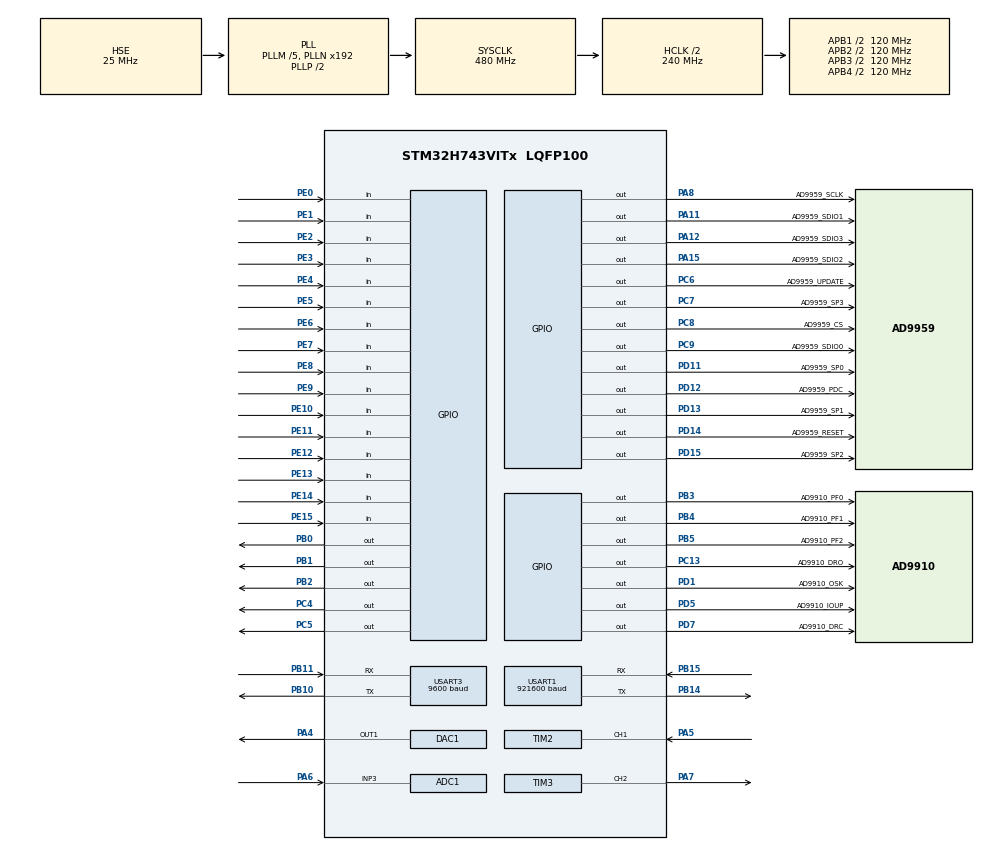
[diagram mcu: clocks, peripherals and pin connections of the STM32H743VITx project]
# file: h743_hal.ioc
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ADC1.Channel-0\#ChannelRegularConversion=ADC_CHANNEL_3
ADC1.ConversionDataManagement=ADC_CONVERSIONDATA_DMA_CIRCULAR
ADC1.ExternalTrigConv=ADC_EXTERNALTRIG_T6_TRGO
ADC1.NbrOfConversionFlag=1
ADC1.OffsetNumber-0\#ChannelRegularConversion=ADC_OFFSET_NONE
ADC1.OffsetSignedSaturation-0\#ChannelRegularConversion=DISABLE
ADC1.Rank-0\#ChannelRegularConversion=1
ADC1.Resolution=ADC_RESOLUTION_12B
ADC1.SamplingTime-0\#ChannelRegularConversion=ADC_SAMPLETIME_1CYCLE_5
ADC1.master=1
CORTEX_M7.AccessPermission_Spec=MPU_REGION_FULL_ACCESS
CORTEX_M7.BaseAddress_Spec=0x24000000
CORTEX_M7.CPU_DCache=Enabled
CORTEX_M7.CPU_ICache=Enabled
CORTEX_M7.DisableExec_Spec=MPU_INSTRUCTION_ACCESS_ENABLE
CORTEX_M7.IsShareable_Spec=MPU_ACCESS_NOT_SHAREABLE
CORTEX_M7.Size_Spec=MPU_REGION_SIZE_128KB
CORTEX_M7.SubRegionDisable_Spec=0x00
CORTEX_M7.TypeExtField_Spec=MPU_TEX_LEVEL1
CORTEX_M7.default_mode_Activation=1
DAC1.DAC1_OutputBuffer-DAC_OUT1=DAC_OUTPUTBUFFER_DISABLE
DAC1.DAC_Channel-DAC_OUT1=DAC_CHANNEL_1
DAC1.DAC_Trigger-DAC_OUT1=DAC_TRIGGER_T6_TRGO
Dma.ADC1.0.Direction=DMA_PERIPH_TO_MEMORY
Dma.ADC1.0.EventEnable=DISABLE
Dma.ADC1.0.FIFOMode=DMA_FIFOMODE_DISABLE
Dma.ADC1.0.Instance=DMA1_Stream0
Dma.ADC1.0.MemDataAlignment=DMA_MDATAALIGN_HALFWORD
Dma.ADC1.0.MemInc=DMA_MINC_ENABLE
Dma.ADC1.0.Mode=DMA_NORMAL
Dma.ADC1.0.PeriphDataAlignment=DMA_PDATAALIGN_HALFWORD
Dma.ADC1.0.PeriphInc=DMA_PINC_DISABLE
Dma.ADC1.0.Polarity=HAL_DMAMUX_REQ_GEN_RISING
Dma.ADC1.0.Priority=DMA_PRIORITY_LOW
Dma.ADC1.0.RequestNumber=1
Dma.ADC1.0.SignalID=NONE
Dma.ADC1.0.SyncEnable=DISABLE
Dma.ADC1.0.SyncPolarity=HAL_DMAMUX_SYNC_NO_EVENT
Dma.ADC1.0.SyncRequestNumber=1
Dma.ADC1.0.SyncSignalID=NONE
Dma.DAC1_CH1.3.Direction=DMA_MEMORY_TO_PERIPH
Dma.DAC1_CH1.3.EventEnable=DISABLE
Dma.DAC1_CH1.3.FIFOMode=DMA_FIFOMODE_DISABLE
Dma.DAC1_CH1.3.Instance=DMA1_Stream3
Dma.DAC1_CH1.3.MemDataAlignment=DMA_MDATAALIGN_HALFWORD
Dma.DAC1_CH1.3.MemInc=DMA_MINC_ENABLE
Dma.DAC1_CH1.3.Mode=DMA_CIRCULAR
Dma.DAC1_CH1.3.PeriphDataAlignment=DMA_PDATAALIGN_HALFWORD
Dma.DAC1_CH1.3.PeriphInc=DMA_PINC_DISABLE
Dma.DAC1_CH1.3.Polarity=HAL_DMAMUX_REQ_GEN_RISING
Dma.DAC1_CH1.3.Priority=DMA_PRIORITY_LOW
Dma.DAC1_CH1.3.RequestNumber=1
Dma.DAC1_CH1.3.SignalID=NONE
Dma.DAC1_CH1.3.SyncEnable=DISABLE
Dma.DAC1_CH1.3.SyncPolarity=HAL_DMAMUX_SYNC_NO_EVENT
Dma.DAC1_CH1.3.SyncRequestNumber=1
Dma.DAC1_CH1.3.SyncSignalID=NONE
Dma.Request0=ADC1
Dma.Request1=USART1_RX
Dma.Request2=USART3_RX
Dma.Request3=DAC1_CH1
Dma.Request4=TIM3_CH3
Dma.TIM3_CH3.4.Direction=DMA_PERIPH_TO_MEMORY
Dma.TIM3_CH3.4.EventEnable=DISABLE
Dma.TIM3_CH3.4.FIFOMode=DMA_FIFOMODE_DISABLE
Dma.TIM3_CH3.4.Instance=DMA1_Stream4
Dma.TIM3_CH3.4.MemDataAlignment=DMA_MDATAALIGN_HALFWORD
Dma.TIM3_CH3.4.MemInc=DMA_MINC_ENABLE
Dma.TIM3_CH3.4.Mode=DMA_NORMAL
Dma.TIM3_CH3.4.PeriphDataAlignment=DMA_PDATAALIGN_HALFWORD
Dma.TIM3_CH3.4.PeriphInc=DMA_PINC_DISABLE
Dma.TIM3_CH3.4.Polarity=HAL_DMAMUX_REQ_GEN_RISING
Dma.TIM3_CH3.4.Priority=DMA_PRIORITY_LOW
Dma.TIM3_CH3.4.RequestNumber=1
Dma.TIM3_CH3.4.SignalID=NONE
Dma.TIM3_CH3.4.SyncEnable=DISABLE
Dma.TIM3_CH3.4.SyncPolarity=HAL_DMAMUX_SYNC_NO_EVENT
Dma.TIM3_CH3.4.SyncRequestNumber=1
Dma.TIM3_CH3.4.SyncSignalID=NONE
Dma.USART1_RX.1.Direction=DMA_PERIPH_TO_MEMORY
Dma.USART1_RX.1.EventEnable=DISABLE
Dma.USART1_RX.1.FIFOMode=DMA_FIFOMODE_DISABLE
Dma.USART1_RX.1.Instance=DMA1_Stream1
Dma.USART1_RX.1.MemDataAlignment=DMA_MDATAALIGN_BYTE
Dma.USART1_RX.1.MemInc=DMA_MINC_ENABLE
Dma.USART1_RX.1.Mode=DMA_NORMAL
Dma.USART1_RX.1.PeriphDataAlignment=DMA_PDATAALIGN_BYTE
Dma.USART1_RX.1.PeriphInc=DMA_PINC_DISABLE
Dma.USART1_RX.1.Polarity=HAL_DMAMUX_REQ_GEN_RISING
Dma.USART1_RX.1.Priority=DMA_PRIORITY_LOW
Dma.USART1_RX.1.RequestNumber=1
Dma.USART1_RX.1.SignalID=NONE
Dma.USART1_RX.1.SyncEnable=DISABLE
Dma.USART1_RX.1.SyncPolarity=HAL_DMAMUX_SYNC_NO_EVENT
Dma.USART1_RX.1.SyncRequestNumber=1
Dma.USART1_RX.1.SyncSignalID=NONE
Dma.USART3_RX.2.Direction=DMA_PERIPH_TO_MEMORY
Dma.USART3_RX.2.EventEnable=DISABLE
Dma.USART3_RX.2.FIFOMode=DMA_FIFOMODE_DISABLE
Dma.USART3_RX.2.Instance=DMA1_Stream2
Dma.USART3_RX.2.MemDataAlignment=DMA_MDATAALIGN_BYTE
Dma.USART3_RX.2.MemInc=DMA_MINC_ENABLE
Dma.USART3_RX.2.Mode=DMA_NORMAL
Dma.USART3_RX.2.PeriphDataAlignment=DMA_PDATAALIGN_BYTE
Dma.USART3_RX.2.PeriphInc=DMA_PINC_DISABLE
Dma.USART3_RX.2.Polarity=HAL_DMAMUX_REQ_GEN_RISING
Dma.USART3_RX.2.Priority=DMA_PRIORITY_LOW
Dma.USART3_RX.2.RequestNumber=1
Dma.USART3_RX.2.SignalID=NONE
Dma.USART3_RX.2.SyncEnable=DISABLE
Dma.USART3_RX.2.SyncPolarity=HAL_DMAMUX_SYNC_NO_EVENT
Dma.USART3_RX.2.SyncRequestNumber=1
Dma.USART3_RX.2.SyncSignalID=NONE
Mcu.Family=STM32H7
Mcu.Name=STM32H743VITx
Mcu.Package=LQFP100
NVIC.DMA1_Stream0_IRQn=true\:0\:0\:false\:false\:true\:false\:true\:true
NVIC.DMA1_Stream1_IRQn=true\:0\:0\:false\:false\:true\:false\:true\:true
NVIC.DMA1_Stream2_IRQn=true\:0\:0\:false\:false\:true\:false\:true\:true
NVIC.DMA1_Stream3_IRQn=true\:0\:0\:false\:false\:true\:false\:true\:true
NVIC.DMA1_Stream4_IRQn=true\:0\:0\:false\:false\:true\:false\:true\:true
NVIC.PriorityGroup=NVIC_PRIORITYGROUP_4
NVIC.USART3_IRQn=true\:0\:0\:false\:false\:true\:true\:true\:true
PA11.GPIO_Label=AD9959_SDIO1
PA11.Signal=GPIO_Output
PA12.GPIO_Label=AD9959_SDIO3
PA12.Signal=GPIO_Output
PA13\ (JTMS/SWDIO).Mode=Serial_Wire
PA13\ (JTMS/SWDIO).Signal=DEBUG_JTMS-SWDIO
PA14\ (JTCK/SWCLK).Mode=Serial_Wire
PA14\ (JTCK/SWCLK).Signal=DEBUG_JTCK-SWCLK
PA15\ (JTDI).GPIO_Label=AD9959_SDIO2
PA15\ (JTDI).Signal=GPIO_Output
PA4.Signal=COMP_DAC11_group
PA5.Signal=S_TIM2_CH1_ETR
PA6.Signal=ADCx_INP3
PA7.Signal=S_TIM3_CH2
PA8.GPIO_Label=AD9959_SCLK
PA8.Signal=GPIO_Output
PB0.Signal=GPIO_Output
PB1.Signal=GPIO_Output
PB10.Mode=Asynchronous
PB10.Signal=USART3_TX
PB11.Mode=Asynchronous
PB11.Signal=USART3_RX
PB14.Mode=Asynchronous
PB14.Signal=USART1_TX
PB15.Mode=Asynchronous
PB15.Signal=USART1_RX
PB2.Signal=GPIO_Output
PB3\ (JTDO/TRACESWO).GPIO_Label=AD9910_PF0
PB3\ (JTDO/TRACESWO).Signal=GPIO_Output
PB4\ (NJTRST).GPIO_Label=AD9910_PF1
PB4\ (NJTRST).Signal=GPIO_Output
PB5.GPIO_Label=AD9910_PF2
PB5.Signal=GPIO_Output
PC13.GPIO_Label=AD9910_DRO
PC13.Signal=GPIO_Output
PC14-OSC32_IN\ (OSC32_IN).Mode=LSE-External-Oscillator
PC14-OSC32_IN\ (OSC32_IN).Signal=RCC_OSC32_IN
PC15-OSC32_OUT\ (OSC32_OUT).Mode=LSE-External-Oscillator
PC15-OSC32_OUT\ (OSC32_OUT).Signal=RCC_OSC32_OUT
PC4.Signal=GPIO_Output
PC5.Signal=GPIO_Output
PC6.GPIO_Label=AD9959_UPDATE
PC6.Signal=GPIO_Output
PC7.GPIO_Label=AD9959_SP3
PC7.Signal=GPIO_Output
PC8.GPIO_Label=AD9959_CS
PC8.Signal=GPIO_Output
PC9.GPIO_Label=AD9959_SDIO0
PC9.Signal=GPIO_Output
PD1.GPIO_Label=AD9910_OSK
PD1.Signal=GPIO_Output
PD11.GPIO_Label=AD9959_SP0
PD11.Signal=GPIO_Output
PD12.GPIO_Label=AD9959_PDC
PD12.Signal=GPIO_Output
PD13.GPIO_Label=AD9959_SP1
PD13.Signal=GPIO_Output
PD14.GPIO_Label=AD9959_RESET
PD14.Signal=GPIO_Output
PD15.GPIO_Label=AD9959_SP2
PD15.Signal=GPIO_Output
PD5.GPIO_Label=AD9910_IOUP
PD5.Signal=GPIO_Output
PD7.GPIO_Label=AD9910_DRC
PD7.Signal=GPIO_Output
PE0.Signal=GPIO_Input
PE1.Signal=GPIO_Input
PE10.Signal=GPIO_Input
PE11.Signal=GPIO_Input
PE12.Signal=GPIO_Input
PE13.Signal=GPIO_Input
PE14.Signal=GPIO_Input
PE15.Signal=GPIO_Input
PE2.Signal=GPIO_Input
PE3.Signal=GPIO_Input
PE4.Signal=GPIO_Input
PE5.Signal=GPIO_Input
PE6.Signal=GPIO_Input
PE7.Signal=GPIO_Input
PE8.Signal=GPIO_Input
PE9.Signal=GPIO_Input
PH0-OSC_IN\ (PH0).Mode=HSE-External-Oscillator
PH0-OSC_IN\ (PH0).Signal=RCC_OSC_IN
PH1-OSC_OUT\ (PH1).Mode=HSE-External-Oscillator
PH1-OSC_OUT\ (PH1).Signal=RCC_OSC_OUT
ProjectManager.HeapSize=0x200
ProjectManager.StackSize=0x400
ProjectManager.TargetToolchain=MDK-ARM V5.32
RCC.ADCFreq_Value=75000000
RCC.APB1Freq_Value=120000000
RCC.APB2Freq_Value=120000000
RCC.APB3Freq_Value=120000000
RCC.APB4Freq_Value=120000000
RCC.CortexFreq_Value=480000000
RCC.D1PPRE=RCC_APB3_DIV2
RCC.D2PPRE1=RCC_APB1_DIV2
RCC.D2PPRE2=RCC_APB2_DIV2
RCC.D3PPRE=RCC_APB4_DIV2
RCC.DIVM1=5
RCC.DIVM2=2
RCC.DIVN1=192
RCC.DIVN2=12
RCC.HCLKFreq_Value=240000000
RCC.HPRE=RCC_HCLK_DIV2
RCC.PLL2FRACN=0
RCC.PLL3FRACN=0
RCC.PLLFRACN=0
RCC.PLLSourceVirtual=RCC_PLLSOURCE_HSE
RCC.SYSCLKFreq_VALUE=480000000
RCC.SYSCLKSource=RCC_SYSCLKSOURCE_PLLCLK
RCC.USBFreq_Value=480000000
SH.ADCx_INP3.0=ADC1_INP3,IN3-Single-Ended
SH.COMP_DAC11_group.0=DAC1_OUT1,DAC_OUT1
SH.S_TIM2_CH1_ETR.0=TIM2_CH1,TriggerSource_TI1FP1
SH.S_TIM2_CH1_ETR.1=TIM2_CH1,Input_Capture1_from_TI1
SH.S_TIM3_CH2.0=TIM3_CH2,PWM Generation2 CH2
TIM2.AutoReloadPreload=TIM_AUTORELOAD_PRELOAD_ENABLE
TIM2.Channel-Input_Capture1_from_TI1=TIM_CHANNEL_1
TIM2.Period=0xFFFFFFFF
TIM2.Prescaler=0
TIM3.AutoReloadPreload=TIM_AUTORELOAD_PRELOAD_ENABLE
TIM3.Channel-PWM\ Generation2\ CH2=TIM_CHANNEL_2
TIM3.Channel-PWM\ Generation3\ No\ Output=TIM_CHANNEL_3
TIM3.Period=10-1
TIM3.Prescaler=24-1
TIM3.Pulse-PWM\ Generation2\ CH2=5-1
TIM6.AutoReloadPreload=TIM_AUTORELOAD_PRELOAD_ENABLE
TIM6.Period=10-1
TIM6.Prescaler=24-1
TIM6.TIM_MasterOutputTrigger=TIM_TRGO_UPDATE
USART1.BaudRate=921600
USART1.VirtualMode-Asynchronous=VM_ASYNC
USART3.BaudRate=9600
USART3.VirtualMode-Asynchronous=VM_ASYNC
VP_MEMORYMAP_VS_MEMORYMAP.Mode=CurAppReg
VP_TIM2_VS_ControllerModeReset.Mode=Reset Mode
VP_TIM3_VS_ClockSourceINT.Mode=Internal
VP_TIM3_VS_no_output3.Mode=PWM Generation3 No Output
VP_TIM6_VS_ClockSourceINT.Mode=Enable_Timer
board=custom

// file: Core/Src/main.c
/* USER CODE BEGIN Header */
/**
  ******************************************************************************
  * @file           : main.c
  * @brief          : Main program body
  ******************************************************************************
  * @attention
  *
  * Copyright (c) 2026 STMicroelectronics.
  * All rights reserved.
  *
  * This software is licensed under terms that can be found in the LICENSE file
  * in the root directory of this software component.
  * If no LICENSE file comes with this software, it is provided AS-IS.
  *
  ******************************************************************************
  */
/* USER CODE END Header */
#include "main.h"
#include "adc.h"
#include "dac.h"
#include "dma.h"
#include "tim.h"
#include "usart.h"
#include "gpio.h"

/* USER CODE BEGIN Includes */
#include "app_types.h"
#include "fft_analyzer.h"
#include "freq_measure.h"
#include "scheduler.h"
#include "serial.h"
#include "adc_app.h"
#include "ad7616.h"
/* USER CODE END Includes */

/* USER CODE BEGIN PV */

Wave_Struct   g_wave_info;
FreqMeasure   g_freq_measure;

/* USER CODE END PV */

void SystemClock_Config(void);
static void MPU_Config(void);

/* USER CODE BEGIN 0 */
__attribute__((section(".AXI_SRAM"), aligned(32))) uint16_t adc_1_buffer[FFT_N];

volatile uint8_t adc1_flag;

void HAL_ADC_ConvCpltCallback(ADC_HandleTypeDef *hadc)
{
	if(hadc->Instance==ADC1)
	{
		if(adc1_flag==0)
			adc1_flag = 1;
	}

}

/* USER CODE END 0 */

int main(void)
{

  /* MPU Configuration--------------------------------------------------------*/
  MPU_Config();

  /* Enable the CPU Cache */

  /* Enable I-Cache---------------------------------------------------------*/
  SCB_EnableICache();

  /* Enable D-Cache---------------------------------------------------------*/
  SCB_EnableDCache();

  /* MCU Configuration--------------------------------------------------------*/

  /* Reset of all peripherals, Initializes the Flash interface and the Systick. */
  HAL_Init();

  /* Configure the system clock */
  SystemClock_Config();

  /* Initialize all configured peripherals */
  MX_GPIO_Init();
  MX_DMA_Init();
  MX_ADC1_Init();
  MX_TIM2_Init();
  MX_USART3_UART_Init();
  MX_USART1_UART_Init();
  MX_DAC1_Init();
  MX_TIM6_Init();
  MX_TIM3_Init();
  /* USER CODE BEGIN 2 */

  /* ---- AD7616 初始化 ---- */
  AD7616_Init();
  AD7616_SelectChannelPair(0);   /* 默认通道对 0 (V0A + V0B) */
  AD7616_StartConversion();      /* 启动 TIM3 CH2 CONVST @ 1MHz */

  Serial_RxInit(&huart3);
  FreqMeasure_Init(&g_freq_measure, &htim2);
  Scheduler_Init();

  /* USER CODE END 2 */

  /* Infinite loop */
  /* USER CODE BEGIN WHILE */
  while (1)
  {
      Scheduler_Run();
    /* USER CODE END WHILE */

  }
}

void SystemClock_Config(void)
{
  RCC_OscInitTypeDef RCC_OscInitStruct = {0};
  RCC_ClkInitTypeDef RCC_ClkInitStruct = {0};

  /** Supply configuration update enable
  */
  HAL_PWREx_ConfigSupply(PWR_LDO_SUPPLY);

  /** Configure the main internal regulator output voltage
  */
  __HAL_PWR_VOLTAGESCALING_CONFIG(PWR_REGULATOR_VOLTAGE_SCALE0);

  while(!__HAL_PWR_GET_FLAG(PWR_FLAG_VOSRDY)) {}

  /** Initializes the RCC Oscillators according to the specified parameters
  * in the RCC_OscInitTypeDef structure.
  */
  RCC_OscInitStruct.OscillatorType = RCC_OSCILLATORTYPE_HSE;
  RCC_OscInitStruct.HSEState = RCC_HSE_ON;
  RCC_OscInitStruct.PLL.PLLState = RCC_PLL_ON;
  RCC_OscInitStruct.PLL.PLLSource = RCC_PLLSOURCE_HSE;
  RCC_OscInitStruct.PLL.PLLM = 5;
  RCC_OscInitStruct.PLL.PLLN = 192;
  RCC_OscInitStruct.PLL.PLLP = 2;
  RCC_OscInitStruct.PLL.PLLQ = 2;
  RCC_OscInitStruct.PLL.PLLR = 2;
  RCC_OscInitStruct.PLL.PLLRGE = RCC_PLL1VCIRANGE_2;
  RCC_OscInitStruct.PLL.PLLVCOSEL = RCC_PLL1VCOWIDE;
  RCC_OscInitStruct.PLL.PLLFRACN = 0;
  if (HAL_RCC_OscConfig(&RCC_OscInitStruct) != HAL_OK)
  {
    Error_Handler();
  }

  /** Initializes the CPU, AHB and APB buses clocks
  */
  RCC_ClkInitStruct.ClockType = RCC_CLOCKTYPE_HCLK|RCC_CLOCKTYPE_SYSCLK
                              |RCC_CLOCKTYPE_PCLK1|RCC_CLOCKTYPE_PCLK2
                              |RCC_CLOCKTYPE_D3PCLK1|RCC_CLOCKTYPE_D1PCLK1;
  RCC_ClkInitStruct.SYSCLKSource = RCC_SYSCLKSOURCE_PLLCLK;
  RCC_ClkInitStruct.SYSCLKDivider = RCC_SYSCLK_DIV1;
  RCC_ClkInitStruct.AHBCLKDivider = RCC_HCLK_DIV2;
  RCC_ClkInitStruct.APB3CLKDivider = RCC_APB3_DIV2;
  RCC_ClkInitStruct.APB1CLKDivider = RCC_APB1_DIV2;
  RCC_ClkInitStruct.APB2CLKDivider = RCC_APB2_DIV2;
  RCC_ClkInitStruct.APB4CLKDivider = RCC_APB4_DIV2;

  if (HAL_RCC_ClockConfig(&RCC_ClkInitStruct, FLASH_LATENCY_4) != HAL_OK)
  {
    Error_Handler();
  }
}

/* USER CODE BEGIN 4 */

/* ---- 串口接收轮询 — 在 Task_10ms 里调用 ---- */
 void UartProc(void)
{
    if (uart1_rx_flag) {
        SCB_InvalidateDCache_by_Addr((uint32_t *)uart1_rx_buf, UART_RX_BUF_SIZE);
        // 在这里处理 USART1 收到的数据
        uart1_rx_flag = 0;
    }

    if (uart3_rx_flag) {
        SCB_InvalidateDCache_by_Addr((uint32_t *)uart3_rx_buf, UART_RX_BUF_SIZE);
        // 在这里处理 USART3 收到的数据
        uart3_rx_flag = 0;
    }
}

void APP_Proc(void)
{
    if(adc1_flag==1)
    {
        adc1_flag = 0;
        ADC_proc();
    }

    /* AD7616 数据就绪处理 */
    AD7616_Data *pData = AD7616_GetData();
    if (pData != NULL) {
        /* 取通道 0 的 A/B 数据, 转换为电压 (mV) */
        float va = AD7616_CodeToVoltage(pData->chan_a[0], AD7616_RANGE_10V);
        float vb = AD7616_CodeToVoltage(pData->chan_b[0], AD7616_RANGE_10V);
        (void)va;
        (void)vb;
        /* 在此添加 FFT、RMS、相位等处理 */
    }
}
/* 10ms 周期*/
void Task_10ms(uint16_t ticks)
{
    (void)ticks;
    APP_Proc();
    UartProc();
}

/* 100ms 周期：频率测量 + HMI 刷新 */
void Task_100ms(void)
{
    FreqMeasure_Process(&g_freq_measure, &g_wave_info);
}

/* 1 秒周期：预留 — 系统心跳 / 统计上报 */
void Task_1sec(void)
{
}

/* 1 分钟周期：预留 — 长时间定时操作 */
void Task_1min(void)
{
}

/* USER CODE END 4 */

 /* MPU Configuration */

void MPU_Config(void)
{
  MPU_Region_InitTypeDef MPU_InitStruct = {0};

  /* Disables the MPU */
  HAL_MPU_Disable();

  /** Initializes and configures the Region and the memory to be protected
  */
  MPU_InitStruct.Enable = MPU_REGION_ENABLE;
  MPU_InitStruct.Number = MPU_REGION_NUMBER0;
  MPU_InitStruct.BaseAddress = 0x24000000;
  MPU_InitStruct.Size = MPU_REGION_SIZE_128KB;
  MPU_InitStruct.SubRegionDisable = 0x00;
  MPU_InitStruct.TypeExtField = MPU_TEX_LEVEL1;
  MPU_InitStruct.AccessPermission = MPU_REGION_FULL_ACCESS;
  MPU_InitStruct.DisableExec = MPU_INSTRUCTION_ACCESS_ENABLE;
  MPU_InitStruct.IsShareable = MPU_ACCESS_NOT_SHAREABLE;
  MPU_InitStruct.IsCacheable = MPU_ACCESS_NOT_CACHEABLE;
  MPU_InitStruct.IsBufferable = MPU_ACCESS_NOT_BUFFERABLE;

  HAL_MPU_ConfigRegion(&MPU_InitStruct);
  /* Enables the MPU */
  HAL_MPU_Enable(MPU_PRIVILEGED_DEFAULT);

}

void Error_Handler(void)
{
  __disable_irq();
  while (1)
  {
  }
}
